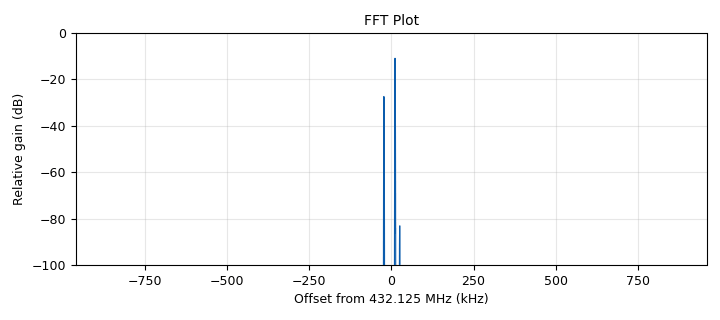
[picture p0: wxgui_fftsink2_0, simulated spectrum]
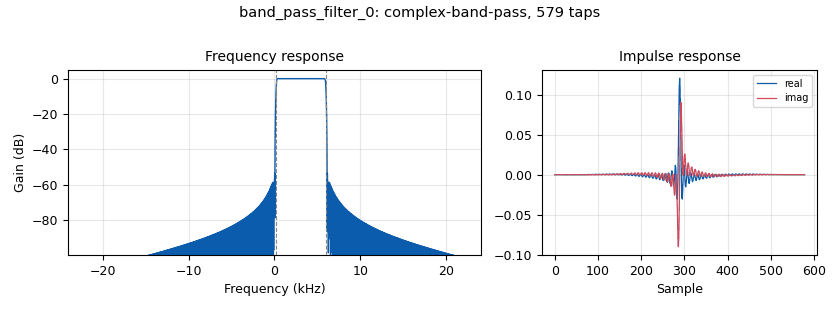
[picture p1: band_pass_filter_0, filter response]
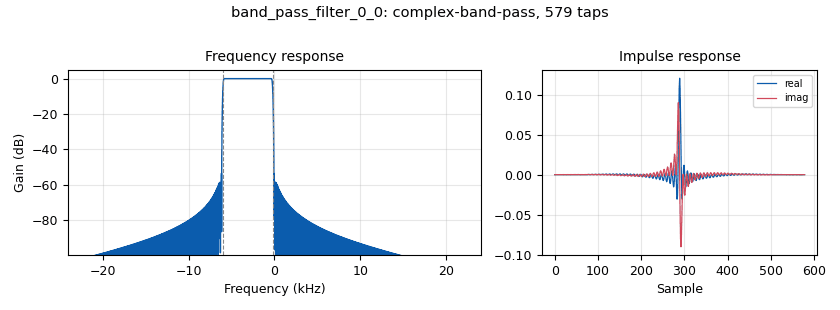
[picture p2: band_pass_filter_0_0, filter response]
<?xml version='1.0' encoding='utf-8'?>
<?grc format='1' created='3.7.13'?>
<flow_graph>
<block>
<key>options</key>
<param><key>id</key><value>top_block</value></param>
<param><key>generate_options</key><value>wx_gui</value></param>
</block>
<block>
<key>variable</key>
<param><key>id</key><value>audio_rate</value></param>
<param><key>value</key><value>48000</value></param>
</block>
<block>
<key>variable</key>
<param><key>id</key><value>center_freq</value></param>
<param><key>value</key><value>432125000</value></param>
</block>
<block>
<key>variable_check_box</key>
<param><key>id</key><value>lsb_on</value></param>
<param><key>value</key><value>True</value></param>
<param><key>false</key><value>False</value></param>
<param><key>grid_pos</key><value>4,3,1,1</value></param>
<param><key>label</key><value>LSB</value></param>
<param><key>true</key><value>True</value></param>
</block>
<block>
<key>variable_slider</key>
<param><key>id</key><value>magnitude</value></param>
<param><key>converver</key><value>float_converter</value></param>
<param><key>value</key><value>-0.1</value></param>
<param><key>grid_pos</key><value>1,0,1,7</value></param>
<param><key>label</key><value>Magnitude correction</value></param>
<param><key>max</key><value>0.1</value></param>
<param><key>min</key><value>-0.1</value></param>
<param><key>num_steps</key><value>200</value></param>
<param><key>style</key><value>wx.SL_HORIZONTAL</value></param>
</block>
<block>
<key>variable</key>
<param><key>id</key><value>samp_rate</value></param>
<param><key>value</key><value>audio_rate*40</value></param>
</block>
<block>
<key>variable_check_box</key>
<param><key>id</key><value>usb_on</value></param>
<param><key>value</key><value>True</value></param>
<param><key>false</key><value>False</value></param>
<param><key>grid_pos</key><value>4,4,1,1</value></param>
<param><key>label</key><value>USB</value></param>
<param><key>true</key><value>True</value></param>
</block>
<block>
<key>analog_const_source_x</key>
<param><key>id</key><value>analog_const_source_x_0</value></param>
<param><key>const</key><value>0</value></param>
<param><key>type</key><value>float</value></param>
</block>
<block>
<key>analog_sig_source_x</key>
<param><key>id</key><value>analog_sig_source_x_0</value></param>
<param><key>amp</key><value>1</value></param>
<param><key>freq</key><value>2000</value></param>
<param><key>offset</key><value>1.5708</value></param>
<param><key>type</key><value>complex</value></param>
<param><key>samp_rate</key><value>samp_rate</value></param>
<param><key>waveform</key><value>analog.GR_SIN_WAVE</value></param>
</block>
<block>
<key>analog_sig_source_x</key>
<param><key>id</key><value>analog_sig_source_x_0_0</value></param>
<param><key>amp</key><value>3</value></param>
<param><key>freq</key><value>3000</value></param>
<param><key>offset</key><value>0</value></param>
<param><key>type</key><value>complex</value></param>
<param><key>samp_rate</key><value>samp_rate</value></param>
<param><key>waveform</key><value>analog.GR_SIN_WAVE</value></param>
</block>
<block>
<key>analog_sig_source_x</key>
<param><key>id</key><value>analog_sig_source_x_1</value></param>
<param><key>amp</key><value>2</value></param>
<param><key>freq</key><value>4000</value></param>
<param><key>offset</key><value>0.7854</value></param>
<param><key>type</key><value>complex</value></param>
<param><key>samp_rate</key><value>samp_rate</value></param>
<param><key>waveform</key><value>analog.GR_SIN_WAVE</value></param>
</block>
<block>
<key>analog_sig_source_x</key>
<param><key>id</key><value>analog_sig_source_x_1_0</value></param>
<param><key>amp</key><value>5</value></param>
<param><key>freq</key><value>5000</value></param>
<param><key>offset</key><value>1.0472</value></param>
<param><key>type</key><value>complex</value></param>
<param><key>samp_rate</key><value>samp_rate</value></param>
<param><key>waveform</key><value>analog.GR_SIN_WAVE</value></param>
</block>
<block>
<key>analog_sig_source_x</key>
<param><key>id</key><value>analog_sig_source_x_3</value></param>
<param><key>amp</key><value>1.8 if usb_on else 0</value></param>
<param><key>freq</key><value>25000</value></param>
<param><key>offset</key><value>0</value></param>
<param><key>type</key><value>complex</value></param>
<param><key>samp_rate</key><value>audio_rate</value></param>
<param><key>waveform</key><value>analog.GR_COS_WAVE</value></param>
</block>
<block>
<key>analog_sig_source_x</key>
<param><key>id</key><value>analog_sig_source_x_3_0</value></param>
<param><key>amp</key><value>1.8 if lsb_on else 0</value></param>
<param><key>freq</key><value>11000</value></param>
<param><key>offset</key><value>0</value></param>
<param><key>type</key><value>complex</value></param>
<param><key>samp_rate</key><value>audio_rate</value></param>
<param><key>waveform</key><value>analog.GR_COS_WAVE</value></param>
</block>
<block>
<key>analog_sig_source_x</key>
<param><key>id</key><value>analog_sig_source_x_4</value></param>
<param><key>amp</key><value>1</value></param>
<param><key>freq</key><value>0</value></param>
<param><key>offset</key><value>0</value></param>
<param><key>type</key><value>complex</value></param>
<param><key>samp_rate</key><value>samp_rate</value></param>
<param><key>waveform</key><value>analog.GR_COS_WAVE</value></param>
</block>
<block>
<key>band_pass_filter</key>
<param><key>id</key><value>band_pass_filter_0</value></param>
<param><key>type</key><value>interp_fir_filter_ccc</value></param>
<param><key>gain</key><value>1</value></param>
<param><key>high_cutoff_freq</key><value>6000</value></param>
<param><key>interp</key><value>1</value></param>
<param><key>low_cutoff_freq</key><value>200</value></param>
<param><key>samp_rate</key><value>audio_rate</value></param>
<param><key>width</key><value>200</value></param>
<param><key>win</key><value>firdes.WIN_HAMMING</value></param>
</block>
<block>
<key>band_pass_filter</key>
<param><key>id</key><value>band_pass_filter_0_0</value></param>
<param><key>type</key><value>interp_fir_filter_ccc</value></param>
<param><key>gain</key><value>1</value></param>
<param><key>high_cutoff_freq</key><value>-200</value></param>
<param><key>interp</key><value>1</value></param>
<param><key>low_cutoff_freq</key><value>-6000</value></param>
<param><key>samp_rate</key><value>audio_rate</value></param>
<param><key>width</key><value>200</value></param>
<param><key>win</key><value>firdes.WIN_HAMMING</value></param>
</block>
<block>
<key>blocks_add_xx</key>
<param><key>id</key><value>blocks_add_xx_0</value></param>
<param><key>type</key><value>complex</value></param>
<param><key>num_inputs</key><value>4</value></param>
</block>
<block>
<key>blocks_add_xx</key>
<param><key>id</key><value>blocks_add_xx_1</value></param>
<param><key>type</key><value>complex</value></param>
</block>
<block>
<key>blocks_complex_to_real</key>
<param><key>id</key><value>blocks_complex_to_real_0</value></param>
</block>
<block>
<key>blocks_float_to_complex</key>
<param><key>id</key><value>blocks_float_to_complex_0</value></param>
</block>
<block>
<key>blocks_multiply_xx</key>
<param><key>id</key><value>blocks_multiply_xx_3</value></param>
<param><key>type</key><value>complex</value></param>
</block>
<block>
<key>blocks_multiply_xx</key>
<param><key>id</key><value>blocks_multiply_xx_3_0</value></param>
<param><key>type</key><value>complex</value></param>
</block>
<block>
<key>blocks_multiply_xx</key>
<param><key>id</key><value>blocks_multiply_xx_4</value></param>
<param><key>type</key><value>complex</value></param>
</block>
<block>
<key>note</key>
<param><key>id</key><value>note_0</value></param>
<param><key>note</key><value>Doppler Shift</value></param>
</block>
<block>
<key>note</key>
<param><key>id</key><value>note_1</value></param>
<param><key>note</key><value>Upper sideband</value></param>
</block>
<block>
<key>note</key>
<param><key>id</key><value>note_2</value></param>
<param><key>note</key><value>Lower sideband</value></param>
</block>
<block>
<key>rational_resampler_xxx</key>
<param><key>id</key><value>rational_resampler_xxx_2</value></param>
<param><key>decim</key><value>audio_rate</value></param>
<param><key>interp</key><value>samp_rate</value></param>
<param><key>taps</key><value></value></param>
<param><key>type</key><value>ccc</value></param>
</block>
<block>
<key>wxgui_fftsink2</key>
<param><key>id</key><value>wxgui_fftsink2_0</value></param>
<param><key>avg_alpha</key><value>0</value></param>
<param><key>average</key><value>False</value></param>
<param><key>baseband_freq</key><value>center_freq</value></param>
<param><key>fft_size</key><value>4096</value></param>
<param><key>freqvar</key><value>None</value></param>
<param><key>peak_hold</key><value>False</value></param>
<param><key>ref_level</key><value>0</value></param>
<param><key>ref_scale</key><value>2.0</value></param>
<param><key>fft_rate</key><value>15</value></param>
<param><key>samp_rate</key><value>samp_rate</value></param>
<param><key>title</key><value>FFT Plot</value></param>
<param><key>type</key><value>complex</value></param>
<param><key>win</key><value>None</value></param>
<param><key>y_divs</key><value>10</value></param>
<param><key>y_per_div</key><value>10</value></param>
</block>
<block>
<key>wxgui_scopesink2</key>
<param><key>id</key><value>wxgui_scopesink2_0</value></param>
<param><key>ac_couple</key><value>False</value></param>
<param><key>_enabled</key><value>0</value></param>
<param><key>num_inputs</key><value>1</value></param>
<param><key>samp_rate</key><value>samp_rate</value></param>
<param><key>t_scale</key><value>0</value></param>
<param><key>title</key><value>Scope Plot</value></param>
<param><key>trig_mode</key><value>wxgui.TRIG_MODE_AUTO</value></param>
<param><key>type</key><value>complex</value></param>
<param><key>v_offset</key><value>0</value></param>
<param><key>v_scale</key><value>0</value></param>
<param><key>xy_mode</key><value>False</value></param>
<param><key>y_axis_label</key><value>Counts</value></param>
</block>
<block>
<key>wxgui_scopesink2</key>
<param><key>id</key><value>wxgui_scopesink2_1</value></param>
<param><key>ac_couple</key><value>False</value></param>
<param><key>_enabled</key><value>0</value></param>
<param><key>num_inputs</key><value>1</value></param>
<param><key>samp_rate</key><value>samp_rate</value></param>
<param><key>t_scale</key><value>0</value></param>
<param><key>title</key><value>Scope Plot</value></param>
<param><key>trig_mode</key><value>wxgui.TRIG_MODE_AUTO</value></param>
<param><key>type</key><value>complex</value></param>
<param><key>v_offset</key><value>0</value></param>
<param><key>v_scale</key><value>0</value></param>
<param><key>xy_mode</key><value>False</value></param>
<param><key>y_axis_label</key><value>Counts</value></param>
</block>
<connection><source_block_id>analog_const_source_x_0</source_block_id><sink_block_id>blocks_float_to_complex_0</sink_block_id><source_key>0</source_key><sink_key>1</sink_key></connection>
<connection><source_block_id>analog_sig_source_x_0</source_block_id><sink_block_id>blocks_add_xx_0</sink_block_id><source_key>0</source_key><sink_key>0</sink_key></connection>
<connection><source_block_id>analog_sig_source_x_0_0</source_block_id><sink_block_id>blocks_add_xx_0</sink_block_id><source_key>0</source_key><sink_key>1</sink_key></connection>
<connection><source_block_id>analog_sig_source_x_1</source_block_id><sink_block_id>blocks_add_xx_0</sink_block_id><source_key>0</source_key><sink_key>2</sink_key></connection>
<connection><source_block_id>analog_sig_source_x_1_0</source_block_id><sink_block_id>blocks_add_xx_0</sink_block_id><source_key>0</source_key><sink_key>3</sink_key></connection>
<connection><source_block_id>analog_sig_source_x_3</source_block_id><sink_block_id>blocks_multiply_xx_3</sink_block_id><source_key>0</source_key><sink_key>1</sink_key></connection>
<connection><source_block_id>analog_sig_source_x_3_0</source_block_id><sink_block_id>blocks_multiply_xx_3_0</sink_block_id><source_key>0</source_key><sink_key>1</sink_key></connection>
<connection><source_block_id>analog_sig_source_x_4</source_block_id><sink_block_id>blocks_multiply_xx_4</sink_block_id><source_key>0</source_key><sink_key>1</sink_key></connection>
<connection><source_block_id>band_pass_filter_0</source_block_id><sink_block_id>blocks_multiply_xx_3</sink_block_id><source_key>0</source_key><sink_key>0</sink_key></connection>
<connection><source_block_id>band_pass_filter_0_0</source_block_id><sink_block_id>blocks_multiply_xx_3_0</sink_block_id><source_key>0</source_key><sink_key>0</sink_key></connection>
<connection><source_block_id>blocks_add_xx_0</source_block_id><sink_block_id>blocks_complex_to_real_0</sink_block_id><source_key>0</source_key><sink_key>0</sink_key></connection>
<connection><source_block_id>blocks_add_xx_0</source_block_id><sink_block_id>wxgui_scopesink2_1</sink_block_id><source_key>0</source_key><sink_key>0</sink_key></connection>
<connection><source_block_id>blocks_add_xx_1</source_block_id><sink_block_id>rational_resampler_xxx_2</sink_block_id><source_key>0</source_key><sink_key>0</sink_key></connection>
<connection><source_block_id>blocks_complex_to_real_0</source_block_id><sink_block_id>blocks_float_to_complex_0</sink_block_id><source_key>0</source_key><sink_key>0</sink_key></connection>
<connection><source_block_id>blocks_float_to_complex_0</source_block_id><sink_block_id>band_pass_filter_0</sink_block_id><source_key>0</source_key><sink_key>0</sink_key></connection>
<connection><source_block_id>blocks_float_to_complex_0</source_block_id><sink_block_id>band_pass_filter_0_0</sink_block_id><source_key>0</source_key><sink_key>0</sink_key></connection>
<connection><source_block_id>blocks_multiply_xx_3</source_block_id><sink_block_id>blocks_add_xx_1</sink_block_id><source_key>0</source_key><sink_key>1</sink_key></connection>
<connection><source_block_id>blocks_multiply_xx_3_0</source_block_id><sink_block_id>blocks_add_xx_1</sink_block_id><source_key>0</source_key><sink_key>0</sink_key></connection>
<connection><source_block_id>blocks_multiply_xx_4</source_block_id><sink_block_id>wxgui_fftsink2_0</sink_block_id><source_key>0</source_key><sink_key>0</sink_key></connection>
<connection><source_block_id>blocks_multiply_xx_4</source_block_id><sink_block_id>wxgui_scopesink2_0</sink_block_id><source_key>0</source_key><sink_key>0</sink_key></connection>
<connection><source_block_id>rational_resampler_xxx_2</source_block_id><sink_block_id>blocks_multiply_xx_4</sink_block_id><source_key>0</source_key><sink_key>0</sink_key></connection>
</flow_graph>
